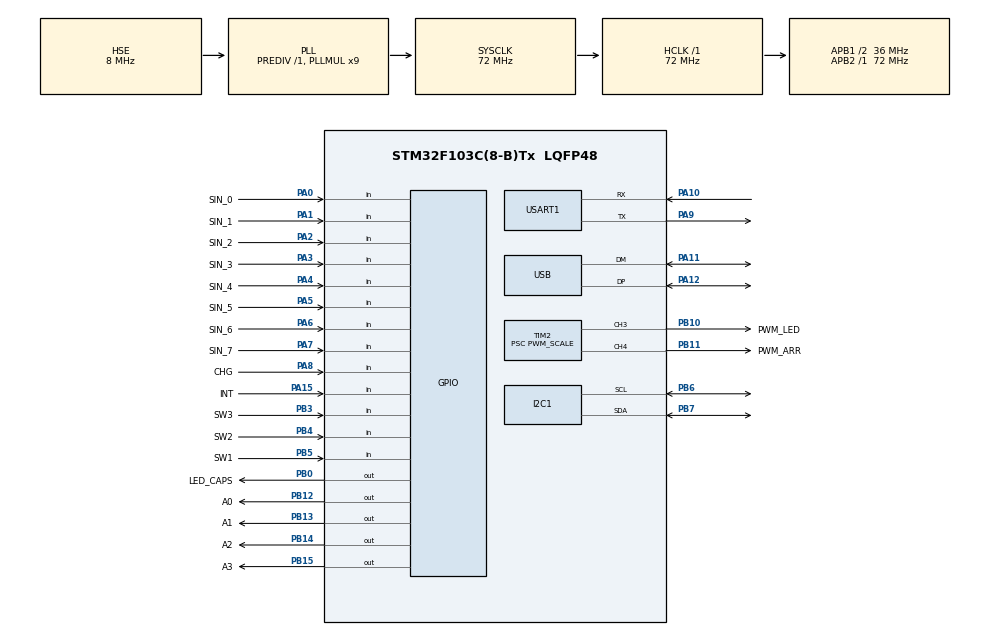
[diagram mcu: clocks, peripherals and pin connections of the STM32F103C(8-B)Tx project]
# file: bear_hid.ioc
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Mcu.Family=STM32F1
Mcu.Name=STM32F103C(8-B)Tx
Mcu.Package=LQFP48
NVIC.PriorityGroup=NVIC_PRIORITYGROUP_4
NVIC.USB_LP_CAN1_RX0_IRQn=true\:0\:0\:false\:false\:true\:false\:true
PA0-WKUP.GPIO_Label=SIN_0
PA0-WKUP.GPIO_Mode=GPIO_MODE_INPUT
PA0-WKUP.GPIO_PuPd=GPIO_PULLUP
PA0-WKUP.Signal=GPIO_Input
PA1.GPIO_Label=SIN_1
PA1.GPIO_Mode=GPIO_MODE_INPUT
PA1.GPIO_PuPd=GPIO_PULLUP
PA1.Signal=GPIO_Input
PA10.Mode=Asynchronous
PA10.Signal=USART1_RX
PA11.Mode=Device
PA11.Signal=USB_DM
PA12.Mode=Device
PA12.Signal=USB_DP
PA13.Mode=Serial_Wire
PA13.Signal=SYS_JTMS-SWDIO
PA14.Mode=Serial_Wire
PA14.Signal=SYS_JTCK-SWCLK
PA15.GPIO_Label=INT
PA15.GPIO_Mode=GPIO_MODE_INPUT
PA15.GPIO_PuPd=GPIO_NOPULL
PA15.Signal=GPIO_Input
PA2.GPIO_Label=SIN_2
PA2.GPIO_Mode=GPIO_MODE_INPUT
PA2.GPIO_PuPd=GPIO_PULLUP
PA2.Signal=GPIO_Input
PA3.GPIO_Label=SIN_3
PA3.GPIO_Mode=GPIO_MODE_INPUT
PA3.GPIO_PuPd=GPIO_PULLUP
PA3.Signal=GPIO_Input
PA4.GPIO_Label=SIN_4
PA4.GPIO_Mode=GPIO_MODE_INPUT
PA4.GPIO_PuPd=GPIO_PULLUP
PA4.Signal=GPIO_Input
PA5.GPIO_Label=SIN_5
PA5.GPIO_Mode=GPIO_MODE_INPUT
PA5.GPIO_PuPd=GPIO_PULLUP
PA5.Signal=GPIO_Input
PA6.GPIO_Label=SIN_6
PA6.GPIO_Mode=GPIO_MODE_INPUT
PA6.GPIO_PuPd=GPIO_PULLUP
PA6.Signal=GPIO_Input
PA7.GPIO_Label=SIN_7
PA7.GPIO_Mode=GPIO_MODE_INPUT
PA7.GPIO_PuPd=GPIO_PULLUP
PA7.Signal=GPIO_Input
PA8.GPIO_Label=CHG
PA8.GPIO_Mode=GPIO_MODE_INPUT
PA8.GPIO_PuPd=GPIO_NOPULL
PA8.Signal=GPIO_Input
PA9.Mode=Asynchronous
PA9.Signal=USART1_TX
PB0.GPIO_Label=LED_CAPS
PB0.GPIO_ModeDefaultOutputPP=GPIO_MODE_OUTPUT_OD
PB0.GPIO_PuPd=GPIO_NOPULL
PB0.GPIO_Speed=GPIO_SPEED_FREQ_LOW
PB0.PinState=GPIO_PIN_SET
PB0.Signal=GPIO_Output
PB10.GPIO_Label=PWM_LED
PB10.GPIO_ModeDefaultPP=GPIO_MODE_AF_PP
PB10.GPIO_Speed=GPIO_SPEED_FREQ_LOW
PB10.Signal=S_TIM2_CH3
PB11.GPIO_Label=PWM_ARR
PB11.GPIO_ModeDefaultPP=GPIO_MODE_AF_PP
PB11.GPIO_Speed=GPIO_SPEED_FREQ_LOW
PB11.Signal=S_TIM2_CH4
PB12.GPIO_Label=A0
PB12.GPIO_ModeDefaultOutputPP=GPIO_MODE_OUTPUT_PP
PB12.GPIO_PuPd=GPIO_NOPULL
PB12.GPIO_Speed=GPIO_SPEED_FREQ_LOW
PB12.PinState=GPIO_PIN_RESET
PB12.Signal=GPIO_Output
PB13.GPIO_Label=A1
PB13.GPIO_ModeDefaultOutputPP=GPIO_MODE_OUTPUT_PP
PB13.GPIO_PuPd=GPIO_NOPULL
PB13.GPIO_Speed=GPIO_SPEED_FREQ_LOW
PB13.PinState=GPIO_PIN_RESET
PB13.Signal=GPIO_Output
PB14.GPIO_Label=A2
PB14.GPIO_ModeDefaultOutputPP=GPIO_MODE_OUTPUT_PP
PB14.GPIO_PuPd=GPIO_NOPULL
PB14.GPIO_Speed=GPIO_SPEED_FREQ_LOW
PB14.PinState=GPIO_PIN_RESET
PB14.Signal=GPIO_Output
PB15.GPIO_Label=A3
PB15.GPIO_ModeDefaultOutputPP=GPIO_MODE_OUTPUT_PP
PB15.GPIO_PuPd=GPIO_NOPULL
PB15.GPIO_Speed=GPIO_SPEED_FREQ_LOW
PB15.PinState=GPIO_PIN_RESET
PB15.Signal=GPIO_Output
PB3.GPIO_Label=SW3
PB3.GPIO_Mode=GPIO_MODE_INPUT
PB3.GPIO_PuPd=GPIO_PULLDOWN
PB3.Signal=GPIO_Input
PB4.GPIO_Label=SW2
PB4.GPIO_Mode=GPIO_MODE_INPUT
PB4.GPIO_PuPd=GPIO_PULLDOWN
PB4.Signal=GPIO_Input
PB5.GPIO_Label=SW1
PB5.GPIO_Mode=GPIO_MODE_INPUT
PB5.GPIO_PuPd=GPIO_PULLDOWN
PB5.Signal=GPIO_Input
PB6.Mode=I2C
PB6.Signal=I2C1_SCL
PB7.Mode=I2C
PB7.Signal=I2C1_SDA
PC14-OSC32_IN.Mode=LSE-External-Oscillator
PC14-OSC32_IN.Signal=RCC_OSC32_IN
PC15-OSC32_OUT.Mode=LSE-External-Oscillator
PC15-OSC32_OUT.Signal=RCC_OSC32_OUT
PD0-OSC_IN.Mode=HSE-External-Oscillator
PD0-OSC_IN.Signal=RCC_OSC_IN
PD1-OSC_OUT.Mode=HSE-External-Oscillator
PD1-OSC_OUT.Signal=RCC_OSC_OUT
ProjectManager.HeapSize=0x200
ProjectManager.StackSize=0x400
ProjectManager.TargetToolchain=STM32CubeIDE
RCC.AHBFreq_Value=72000000
RCC.APB1CLKDivider=RCC_HCLK_DIV2
RCC.APB1Freq_Value=36000000
RCC.APB1TimFreq_Value=72000000
RCC.APB2Freq_Value=72000000
RCC.APB2TimFreq_Value=72000000
RCC.HCLKFreq_Value=72000000
RCC.PLLMUL=RCC_PLL_MUL9
RCC.SYSCLKFreq_VALUE=72000000
RCC.SYSCLKSource=RCC_SYSCLKSOURCE_PLLCLK
RCC.USBFreq_Value=48000000
RCC.USBPrescaler=RCC_USBCLKSOURCE_PLL_DIV1_5
SH.S_TIM2_CH3.0=TIM2_CH3,PWM Generation3 CH3
SH.S_TIM2_CH4.0=TIM2_CH4,PWM Generation4 CH4
TIM2.Channel-PWM\ Generation3\ CH3=TIM_CHANNEL_3
TIM2.Channel-PWM\ Generation4\ CH4=TIM_CHANNEL_4
TIM2.Period=PWM_RES
TIM2.Prescaler=PWM_SCALE
USART1.VirtualMode=VM_ASYNC
USB.low_power_enable=DISABLE
USB.lpm_enable=DISABLE
USB_DEVICE.CLASS_NAME_FS=HID
USB_DEVICE.VirtualMode=Hid
USB_DEVICE.VirtualModeFS=Hid_FS
VP_USB_DEVICE_VS_USB_DEVICE_HID_FS.Mode=HID_FS
board=custom

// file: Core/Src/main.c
/* USER CODE BEGIN Header */
/**
 ******************************************************************************
 * @file           : main.c
 * @brief          : Main program body
 ******************************************************************************
 * @attention
 *
 * <h2><center>&copy; Copyright (c) 2020 STMicroelectronics.
 * All rights reserved.</center></h2>
 *
 * This software component is licensed by ST under Ultimate Liberty license
 * SLA0044, the "License"; You may not use this file except in compliance with
 * the License. You may obtain a copy of the License at:
 *                             www.st.com/SLA0044
 *
 ******************************************************************************
 */
/* USER CODE END Header */

#include "main.h"
#include "usb_device.h"

/* USER CODE BEGIN Includes */
#include <stdio.h>
#include "usbd_hid_composite_if.h"
#include "keyboard.h"
/* USER CODE END Includes */

/* USER CODE BEGIN PM */
#define PWM_FREQ 16000
#define PWM_RES 256
#define PWM_SCALE ((72000000/PWM_RES/PWM_FREQ)-1)
/* USER CODE END PM */

I2C_HandleTypeDef hi2c1;

TIM_HandleTypeDef htim2;

UART_HandleTypeDef huart1;

void SystemClock_Config(void);
static void MX_GPIO_Init(void);
static void MX_USART1_UART_Init(void);
static void MX_I2C1_Init(void);
static void MX_TIM2_Init(void);

/* USER CODE BEGIN 0 */
#ifdef __GNUC__
/* With GCC/RAISONANCE, small printf (option LD Linker->Libraries->Small printf
 set to 'Yes') calls __io_putchar() */
#define PUTCHAR_PROTOTYPE int __io_putchar(int ch)
#else
#define PUTCHAR_PROTOTYPE int fputc(int ch, FILE *f)
#endif /* __GNUC__ */
/**
 * @brief  Retargets the C library printf function to the USART.
 * @param  None
 * @retval None
 */
PUTCHAR_PROTOTYPE
{
  HAL_UART_Transmit (&huart1, (uint8_t*) &ch, 1, 0xFFFF);
  return ch;
}

void
delay_us (int x)
{
  x *= 72;
  x /= 10;
  while (x--)
    ;
}

static void
reset_usb_pins ()
{
  GPIO_InitTypeDef GPIO_InitStruct =
        { 0 };
  GPIO_InitStruct.Pin = GPIO_PIN_11 | GPIO_PIN_12;
  GPIO_InitStruct.Mode = GPIO_MODE_OUTPUT_OD;
  GPIO_InitStruct.Pull = GPIO_NOPULL;
  GPIO_InitStruct.Speed = GPIO_SPEED_FREQ_LOW;
  HAL_GPIO_Init (GPIOA, &GPIO_InitStruct);
  HAL_GPIO_WritePin (GPIOA, GPIO_PIN_11 | GPIO_PIN_12, GPIO_PIN_RESET);
  HAL_Delay (500);
}

void
user_pwm_setvalue (uint16_t value)
{
  value = value % (PWM_RES*2);
  if (value > PWM_RES)
    value = (PWM_RES*2) - value;
  __HAL_TIM_SET_COMPARE(&htim2, TIM_CHANNEL_3, value);
  __HAL_TIM_SET_COMPARE(&htim2, TIM_CHANNEL_4, value);
}

/* USER CODE END 0 */

int main(void)
{

  /* MCU Configuration--------------------------------------------------------*/

  /* Reset of all peripherals, Initializes the Flash interface and the Systick. */
  HAL_Init();

  /* Configure the system clock */
  SystemClock_Config();

  /* Initialize all configured peripherals */
  MX_GPIO_Init();
  MX_USART1_UART_Init();
  MX_I2C1_Init();
  MX_USB_DEVICE_Init();
  MX_TIM2_Init();
  /* USER CODE BEGIN 2 */
  reset_usb_pins ();
  HID_Composite_Init ();
  HAL_TIM_PWM_Start (&htim2, TIM_CHANNEL_3);
  HAL_TIM_PWM_Start (&htim2, TIM_CHANNEL_4);
  puts ("Init done. \r");
  /* USER CODE END 2 */

  /* Infinite loop */
  /* USER CODE BEGIN WHILE */
  int i = 0;
  while (1)
    {
    /* USER CODE END WHILE */

    /* USER CODE BEGIN 3 */
      if ((i % 1000) == 0)
        {
	  printf ("HeartBeat %d\r\n", i / 1000);
//	  HAL_GPIO_TogglePin (GPIOB, GPIO_PIN_2);

	}
//     HAL_I2C_Master_Transmit (&hi2c1, 4 << 1, (void*) &i, 4, 5000);
      user_pwm_setvalue (i/*&0xff00*/);
      i++;
      keyboard_scan ();
      HAL_Delay (2);
//      delay_us(700);
    }
  /* USER CODE END 3 */
}

void SystemClock_Config(void)
{
  RCC_OscInitTypeDef RCC_OscInitStruct = {0};
  RCC_ClkInitTypeDef RCC_ClkInitStruct = {0};
  RCC_PeriphCLKInitTypeDef PeriphClkInit = {0};

  /** Initializes the CPU, AHB and APB busses clocks
  */
  RCC_OscInitStruct.OscillatorType = RCC_OSCILLATORTYPE_HSE;
  RCC_OscInitStruct.HSEState = RCC_HSE_ON;
  RCC_OscInitStruct.HSEPredivValue = RCC_HSE_PREDIV_DIV1;
  RCC_OscInitStruct.HSIState = RCC_HSI_ON;
  RCC_OscInitStruct.PLL.PLLState = RCC_PLL_ON;
  RCC_OscInitStruct.PLL.PLLSource = RCC_PLLSOURCE_HSE;
  RCC_OscInitStruct.PLL.PLLMUL = RCC_PLL_MUL9;
  if (HAL_RCC_OscConfig(&RCC_OscInitStruct) != HAL_OK)
  {
    Error_Handler();
  }
  /** Initializes the CPU, AHB and APB busses clocks
  */
  RCC_ClkInitStruct.ClockType = RCC_CLOCKTYPE_HCLK|RCC_CLOCKTYPE_SYSCLK
                              |RCC_CLOCKTYPE_PCLK1|RCC_CLOCKTYPE_PCLK2;
  RCC_ClkInitStruct.SYSCLKSource = RCC_SYSCLKSOURCE_PLLCLK;
  RCC_ClkInitStruct.AHBCLKDivider = RCC_SYSCLK_DIV1;
  RCC_ClkInitStruct.APB1CLKDivider = RCC_HCLK_DIV2;
  RCC_ClkInitStruct.APB2CLKDivider = RCC_HCLK_DIV1;

  if (HAL_RCC_ClockConfig(&RCC_ClkInitStruct, FLASH_LATENCY_2) != HAL_OK)
  {
    Error_Handler();
  }
  PeriphClkInit.PeriphClockSelection = RCC_PERIPHCLK_USB;
  PeriphClkInit.UsbClockSelection = RCC_USBCLKSOURCE_PLL_DIV1_5;
  if (HAL_RCCEx_PeriphCLKConfig(&PeriphClkInit) != HAL_OK)
  {
    Error_Handler();
  }
}

static void MX_I2C1_Init(void)
{

  hi2c1.Instance = I2C1;
  hi2c1.Init.ClockSpeed = 100000;
  hi2c1.Init.DutyCycle = I2C_DUTYCYCLE_2;
  hi2c1.Init.OwnAddress1 = 0;
  hi2c1.Init.AddressingMode = I2C_ADDRESSINGMODE_7BIT;
  hi2c1.Init.DualAddressMode = I2C_DUALADDRESS_DISABLE;
  hi2c1.Init.OwnAddress2 = 0;
  hi2c1.Init.GeneralCallMode = I2C_GENERALCALL_DISABLE;
  hi2c1.Init.NoStretchMode = I2C_NOSTRETCH_DISABLE;
  if (HAL_I2C_Init(&hi2c1) != HAL_OK)
  {
    Error_Handler();
  }

}

static void MX_TIM2_Init(void)
{

  TIM_MasterConfigTypeDef sMasterConfig = {0};
  TIM_OC_InitTypeDef sConfigOC = {0};

  htim2.Instance = TIM2;
  htim2.Init.Prescaler = PWM_SCALE;
  htim2.Init.CounterMode = TIM_COUNTERMODE_UP;
  htim2.Init.Period = PWM_RES;
  htim2.Init.ClockDivision = TIM_CLOCKDIVISION_DIV1;
  htim2.Init.AutoReloadPreload = TIM_AUTORELOAD_PRELOAD_DISABLE;
  if (HAL_TIM_PWM_Init(&htim2) != HAL_OK)
  {
    Error_Handler();
  }
  sMasterConfig.MasterOutputTrigger = TIM_TRGO_RESET;
  sMasterConfig.MasterSlaveMode = TIM_MASTERSLAVEMODE_DISABLE;
  if (HAL_TIMEx_MasterConfigSynchronization(&htim2, &sMasterConfig) != HAL_OK)
  {
    Error_Handler();
  }
  sConfigOC.OCMode = TIM_OCMODE_PWM1;
  sConfigOC.Pulse = 0;
  sConfigOC.OCPolarity = TIM_OCPOLARITY_HIGH;
  sConfigOC.OCFastMode = TIM_OCFAST_DISABLE;
  if (HAL_TIM_PWM_ConfigChannel(&htim2, &sConfigOC, TIM_CHANNEL_3) != HAL_OK)
  {
    Error_Handler();
  }
  if (HAL_TIM_PWM_ConfigChannel(&htim2, &sConfigOC, TIM_CHANNEL_4) != HAL_OK)
  {
    Error_Handler();
  }
  HAL_TIM_MspPostInit(&htim2);

}

static void MX_USART1_UART_Init(void)
{

  huart1.Instance = USART1;
  huart1.Init.BaudRate = 115200;
  huart1.Init.WordLength = UART_WORDLENGTH_8B;
  huart1.Init.StopBits = UART_STOPBITS_1;
  huart1.Init.Parity = UART_PARITY_NONE;
  huart1.Init.Mode = UART_MODE_TX_RX;
  huart1.Init.HwFlowCtl = UART_HWCONTROL_NONE;
  huart1.Init.OverSampling = UART_OVERSAMPLING_16;
  if (HAL_UART_Init(&huart1) != HAL_OK)
  {
    Error_Handler();
  }

}

static void MX_GPIO_Init(void)
{
  GPIO_InitTypeDef GPIO_InitStruct = {0};

  /* GPIO Ports Clock Enable */
  __HAL_RCC_GPIOC_CLK_ENABLE();
  __HAL_RCC_GPIOD_CLK_ENABLE();
  __HAL_RCC_GPIOA_CLK_ENABLE();
  __HAL_RCC_GPIOB_CLK_ENABLE();

  /*Configure GPIO pin Output Level */
  HAL_GPIO_WritePin(LED_CAPS_GPIO_Port, LED_CAPS_Pin, GPIO_PIN_SET);

  /*Configure GPIO pin Output Level */
  HAL_GPIO_WritePin(GPIOB, A0_Pin|A1_Pin|A2_Pin|A3_Pin, GPIO_PIN_RESET);

  /*Configure GPIO pins : SIN_0_Pin SIN_1_Pin SIN_2_Pin SIN_3_Pin
                           SIN_4_Pin SIN_5_Pin SIN_6_Pin SIN_7_Pin */
  GPIO_InitStruct.Pin = SIN_0_Pin|SIN_1_Pin|SIN_2_Pin|SIN_3_Pin
                          |SIN_4_Pin|SIN_5_Pin|SIN_6_Pin|SIN_7_Pin;
  GPIO_InitStruct.Mode = GPIO_MODE_INPUT;
  GPIO_InitStruct.Pull = GPIO_PULLUP;
  HAL_GPIO_Init(GPIOA, &GPIO_InitStruct);

  /*Configure GPIO pin : LED_CAPS_Pin */
  GPIO_InitStruct.Pin = LED_CAPS_Pin;
  GPIO_InitStruct.Mode = GPIO_MODE_OUTPUT_OD;
  GPIO_InitStruct.Pull = GPIO_NOPULL;
  GPIO_InitStruct.Speed = GPIO_SPEED_FREQ_LOW;
  HAL_GPIO_Init(LED_CAPS_GPIO_Port, &GPIO_InitStruct);

  /*Configure GPIO pins : A0_Pin A1_Pin A2_Pin A3_Pin */
  GPIO_InitStruct.Pin = A0_Pin|A1_Pin|A2_Pin|A3_Pin;
  GPIO_InitStruct.Mode = GPIO_MODE_OUTPUT_PP;
  GPIO_InitStruct.Pull = GPIO_NOPULL;
  GPIO_InitStruct.Speed = GPIO_SPEED_FREQ_LOW;
  HAL_GPIO_Init(GPIOB, &GPIO_InitStruct);

  /*Configure GPIO pins : CHG_Pin INT_Pin */
  GPIO_InitStruct.Pin = CHG_Pin|INT_Pin;
  GPIO_InitStruct.Mode = GPIO_MODE_INPUT;
  GPIO_InitStruct.Pull = GPIO_NOPULL;
  HAL_GPIO_Init(GPIOA, &GPIO_InitStruct);

  /*Configure GPIO pins : SW3_Pin SW2_Pin SW1_Pin */
  GPIO_InitStruct.Pin = SW3_Pin|SW2_Pin|SW1_Pin;
  GPIO_InitStruct.Mode = GPIO_MODE_INPUT;
  GPIO_InitStruct.Pull = GPIO_PULLDOWN;
  HAL_GPIO_Init(GPIOB, &GPIO_InitStruct);

}

void Error_Handler(void)
{
  /* USER CODE BEGIN Error_Handler_Debug */
  /* User can add his own implementation to report the HAL error return state */
//  assert(false);
  while (1)
    ;
  /* USER CODE END Error_Handler_Debug */
}

/************************ (C) COPYRIGHT STMicroelectronics *****END OF FILE****/
